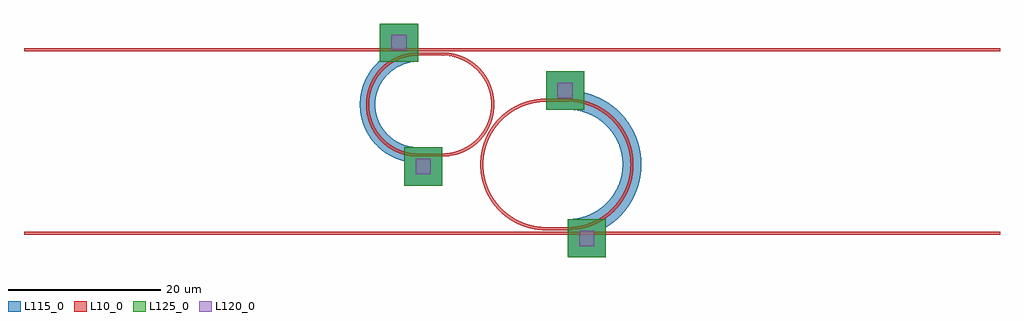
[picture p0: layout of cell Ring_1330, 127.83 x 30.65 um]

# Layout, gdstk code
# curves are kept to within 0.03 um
from math import pi, radians
import gdstk
lib = gdstk.Library(unit=1e-6, precision=1e-09)
def R(c, l, rs):  # rectangles x0, y0, x1, y1
    for r in rs: c.add(gdstk.rectangle(r[:2], r[2:], *l))
def P(c, l, *ps):  # polygons
    for p in ps: c.add(gdstk.Polygon(p, *l))
L10_0 = (10, 0)
L115_0 = (115, 0)
L120_0 = (120, 0)
L125_0 = (125, 0)

unnamed_7 = lib.new_cell('Unnamed_7')
P(unnamed_7, L115_0, [(6.453,-14.998),(5.737,-14.954),(5.059,-14.841),(4.323,-14.653),(3.484,-14.339),(2.724,-13.938),(2.136,-13.556),(1.559,-13.087),(0.982,-12.516),(0.203,-11.51),(-0.433,-10.3),(-0.748,-9.348),(-0.892,-8.694),(-0.981,-7.999),(-1,-7.205),(-0.961,-6.552),(-0.856,-5.889),(-0.659,-5.118),(-0.402,-4.393),(0.002,-3.596),(0.364,-3.016),(0.816,-2.436),(1.301,-1.928),(1.762,-1.504),(2.443,-1.002),(3.414,-0.461),(3.867,-0.27),(4.491,-0.065),(5.293,0.12),(5.937,0.206),(6.614,0.23),(6.614,-1.771),(5.431,-1.899),(4.453,-2.206),(3.523,-2.704),(2.981,-3.109),(2.583,-3.479),(2.014,-4.167),(1.488,-5.11),(1.147,-6.116),(1.046,-6.713),(1.001,-7.349),(1.046,-8.055),(1.171,-8.758),(1.339,-9.293),(1.69,-10.079),(2.041,-10.638),(2.56,-11.266),(3.119,-11.773),(3.599,-12.115),(4.106,-12.405),(4.635,-12.633),(5.22,-12.822),(5.821,-12.936),(6.637,-12.998),(9.781,-12.997),(9.781,-14.998)])

bend_circular_gdsfactory = lib.new_cell('bend_circular_gdsfactorypcomponentspbendspbend_circular_173137a1')
P(bend_circular_gdsfactory, L10_0, [(0,-0.19),(0,0.19),(0.827,0.243),(1.635,0.401),(2.416,0.661),(3.186,1.035),(3.814,1.444),(4.429,1.96),(4.962,2.533),(5.424,3.172),(5.869,3.172),(5.371,2.436),(4.783,1.774),(4.097,1.181),(3.355,0.694),(2.549,0.305),(1.741,0.036),(0.867,-0.135)],
  [(5.424,3.172),(5.848,3.954),(6.159,4.786),(6.353,5.658),(6.423,6.534),(6.804,6.535),(6.766,5.891),(6.666,5.248),(6.511,4.637),(6.292,4.023),(5.869,3.172)],
  [(6.424,6.535),(6.373,7.426),(6.195,8.316),(5.889,9.182),(5.474,9.976),(5.916,9.976),(6.292,9.205),(6.558,8.429),(6.748,7.489),(6.804,6.535)],
  [(5.474,9.976),(4.769,10.919),(3.929,11.697),(4.523,11.697),(5.056,11.168),(5.512,10.604),(5.915,9.977)],
  [(3.928,11.697),(3.036,12.276),(2.067,12.697),(1.02,12.957),(0,13.038),(0,13.418),(0.694,13.383),(1.385,13.276),(2.045,13.104),(2.739,12.843),(3.695,12.328),(4.517,11.703)])

unnamed_8 = lib.new_cell('Unnamed_8')
R(unnamed_8, L10_0, [(6.614,-14.188,9.781,-13.808), (6.614,-0.96,9.781,-0.58)])
unnamed_8.add(gdstk.Reference(bend_circular_gdsfactory, (6.614,-13.998), rotation=pi, x_reflection=True))
unnamed_8.add(gdstk.Reference(bend_circular_gdsfactory, (9.781,-13.998)))

unnamed_16 = lib.new_cell('Unnamed_16')
P(unnamed_16, L115_0, [(26.222,-24.86),(26.222,-22.415),(27.588,-22.285),(28.293,-22.108),(28.922,-21.89),(30.127,-21.26),(30.669,-20.873),(31.291,-20.319),(31.719,-19.855),(32.138,-19.307),(32.499,-18.724),(32.851,-18.003),(33.087,-17.343),(33.267,-16.647),(33.367,-15.956),(33.408,-15.235),(33.367,-14.504),(33.267,-13.813),(33.087,-13.117),(32.851,-12.457),(32.499,-11.736),(32.138,-11.153),(31.719,-10.605),(31.291,-10.141),(30.669,-9.587),(30.127,-9.2),(28.922,-8.57),(28.293,-8.352),(27.588,-8.175),(26.222,-8.045),(26.222,-5.6),(26.416,-5.6),(27.461,-5.675),(28.594,-5.89),(29.201,-6.066),(30.157,-6.438),(30.932,-6.82),(31.777,-7.355),(32.477,-7.898),(33.217,-8.596),(33.892,-9.393),(34.467,-10.238),(34.919,-11.08),(35.236,-11.837),(35.529,-12.73),(35.723,-13.641),(35.828,-14.483),(35.852,-15.404),(35.789,-16.375),(35.608,-17.41),(35.331,-18.37),(35.006,-19.188),(34.628,-19.947),(34.117,-20.756),(33.587,-21.446),(32.901,-22.182),(32.164,-22.819),(31.431,-23.338),(30.723,-23.753),(29.953,-24.109),(29.031,-24.448),(28.141,-24.667),(27.187,-24.817)])

c_bend_circular_gdsfactory = lib.new_cell('bend_circular_gdsfactorypcomponentspbendspbend_circular_a95cb185')
P(c_bend_circular_gdsfactory, L10_0, [(0,-0.19),(0,0.19),(1.097,0.263),(2.118,0.467),(3.106,0.799),(4.098,1.284),(4.939,1.839),(5.74,2.526),(6.428,3.287),(6.975,4.063),(7.419,4.063),(6.806,3.153),(6.042,2.29),(5.204,1.563),(4.3,0.962),(3.317,0.475),(2.242,0.107),(1.137,-0.115)],
  [(6.975,4.063),(7.508,5.065),(7.884,6.087),(8.131,7.212),(8.217,8.317),(8.598,8.318),(8.555,7.544),(8.443,6.78),(8.258,6.012),(8.02,5.307),(7.421,4.065)],
  [(8.218,8.318),(8.15,9.467),(7.928,10.574),(7.553,11.648),(7.031,12.662),(7.473,12.661),(7.955,11.672),(8.291,10.687),(8.527,9.514),(8.598,8.318)],
  [(7.031,12.662),(6.495,13.444),(5.877,14.153),(5.145,14.817),(4.3,15.412),(3.302,15.934),(2.22,16.321),(1.097,16.553),(0,16.626),(0,17.006),(1.181,16.925),(2.333,16.684),(3.482,16.27),(4.539,15.711),(5.652,14.888),(6.193,14.373),(6.659,13.848),(7.118,13.232),(7.472,12.662)])

unnamed_17 = lib.new_cell('Unnamed_17')
R(unnamed_17, L10_0, [(23.371,-23.828,26.222,-23.448), (23.371,-7.012,26.222,-6.632)])
unnamed_17.add(gdstk.Reference(c_bend_circular_gdsfactory, (23.371,-23.638), rotation=pi, x_reflection=True))
unnamed_17.add(gdstk.Reference(c_bend_circular_gdsfactory, (26.222,-23.638)))

ring_1330 = lib.new_cell('Ring_1330')
R(ring_1330, L10_0, [(-45,-24.408,82.833,-24.028), (-45,-0.38,82.833,0)])
R(ring_1330, L115_0, [(26.222,-27.416,31.222,-22.416), (4.781,-17.998,9.781,-12.998), (23.371,-8.044,26.222,-5.6), (23.371,-8.044,28.371,-3.044), (1.614,-2.77,2.614,-1.77), (1.614,-1.77,6.614,3.23)])
R(ring_1330, L120_0, [(27.722,-25.916,29.722,-23.916), (6.281,-16.498,8.281,-14.498), (24.871,-6.544,26.871,-4.544), (3.114,-0.27,5.114,1.73)])
R(ring_1330, L125_0, [(26.222,-27.416,31.222,-22.416), (4.781,-17.998,9.781,-12.998), (23.371,-8.044,28.371,-3.044), (1.614,-1.77,6.614,3.23)])
ring_1330.add(gdstk.Reference(unnamed_7, (0,0)))
ring_1330.add(gdstk.Reference(unnamed_8, (0,0)))
ring_1330.add(gdstk.Reference(unnamed_16, (0,0)))
ring_1330.add(gdstk.Reference(unnamed_17, (0,0)))

lib.write_gds('Ring_1330.gds')
